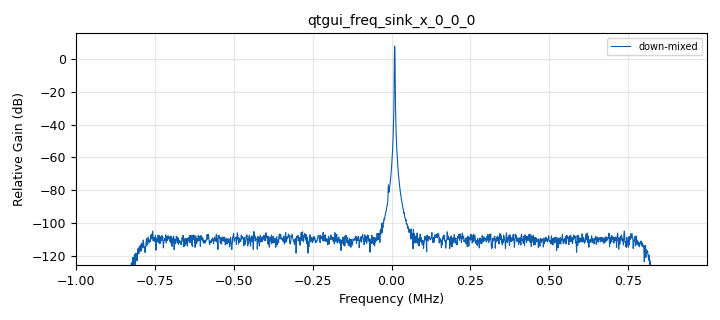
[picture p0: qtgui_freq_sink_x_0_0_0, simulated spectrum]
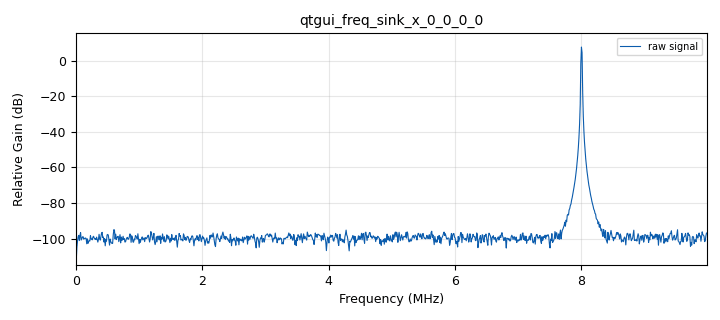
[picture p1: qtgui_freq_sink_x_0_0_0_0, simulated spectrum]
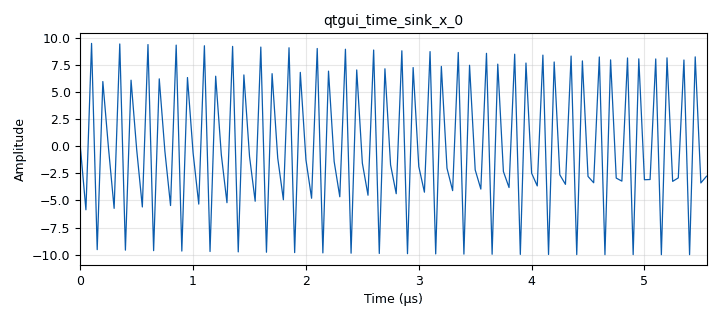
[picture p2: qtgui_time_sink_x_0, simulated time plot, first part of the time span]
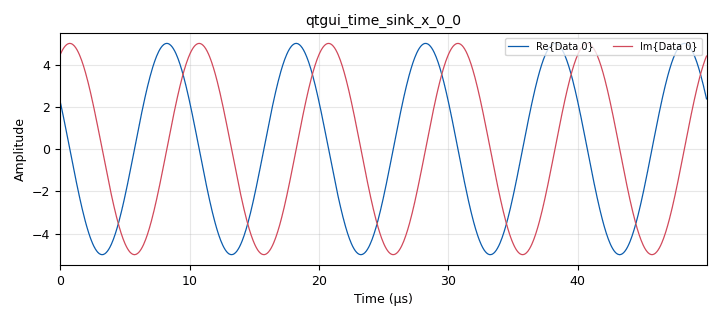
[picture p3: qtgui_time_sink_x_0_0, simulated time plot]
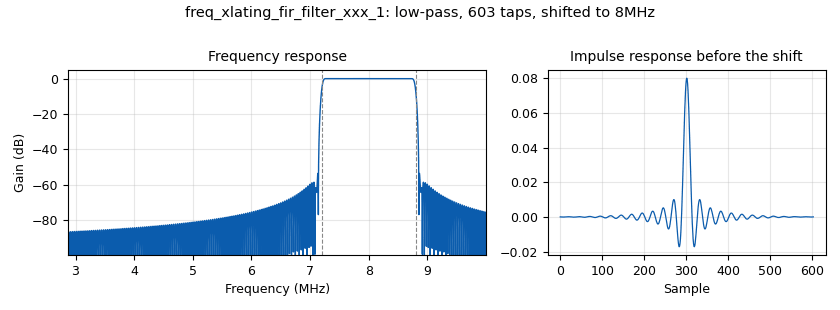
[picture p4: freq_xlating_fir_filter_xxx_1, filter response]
<?xml version='1.0' encoding='utf-8'?>
<?grc format='1' created='3.7.11'?>
<flow_graph>
<block>
<key>options</key>
<param><key>id</key><value>B3_ErrorPropagation_xlating</value></param>
<param><key>generate_options</key><value>qt_gui</value></param>
<param><key>realtime_scheduling</key><value>1</value></param>
<param><key>thread_safe_setters</key><value>1</value></param>
<param><key>title</key><value>B3 FEC-based data aggregation according to Section 3.3.3</value></param>
</block>
<block>
<key>variable_qtgui_range</key>
<param><key>id</key><value>bandWidth</value></param>
<param><key>value</key><value>8e5</value></param>
<param><key>gui_hint</key><value>1,1</value></param>
<param><key>orient</key><value>Qt.Horizontal</value></param>
<param><key>start</key><value>1e5</value></param>
<param><key>step</key><value>1e5</value></param>
<param><key>stop</key><value>2e6</value></param>
</block>
<block>
<key>variable_qtgui_range</key>
<param><key>id</key><value>centerFreq</value></param>
<param><key>value</key><value>8e6</value></param>
<param><key>gui_hint</key><value>0,1</value></param>
<param><key>orient</key><value>Qt.Horizontal</value></param>
<param><key>start</key><value>0</value></param>
<param><key>step</key><value>1e5</value></param>
<param><key>stop</key><value>10e6</value></param>
</block>
<block>
<key>variable</key>
<param><key>id</key><value>decimation</value></param>
<param><key>value</key><value>10</value></param>
</block>
<block>
<key>variable_qtgui_range</key>
<param><key>id</key><value>freq</value></param>
<param><key>value</key><value>8.01e6</value></param>
<param><key>gui_hint</key><value>0,0</value></param>
<param><key>orient</key><value>Qt.Horizontal</value></param>
<param><key>start</key><value>10e3</value></param>
<param><key>step</key><value>1e5</value></param>
<param><key>stop</key><value>10e6</value></param>
</block>
<block>
<key>variable</key>
<param><key>id</key><value>samp_rate</value></param>
<param><key>value</key><value>20000000</value></param>
</block>
<block>
<key>analog_noise_source_x</key>
<param><key>id</key><value>analog_noise_source_x_0_0</value></param>
<param><key>amp</key><value>0.001</value></param>
<param><key>noise_type</key><value>analog.GR_GAUSSIAN</value></param>
<param><key>type</key><value>float</value></param>
<param><key>seed</key><value>0</value></param>
</block>
<block>
<key>analog_sig_source_x</key>
<param><key>id</key><value>analog_sig_source_x_0_0_0</value></param>
<param><key>amp</key><value>10</value></param>
<param><key>freq</key><value>freq</value></param>
<param><key>offset</key><value>0</value></param>
<param><key>type</key><value>float</value></param>
<param><key>samp_rate</key><value>samp_rate</value></param>
<param><key>waveform</key><value>analog.GR_SIN_WAVE</value></param>
</block>
<block>
<key>blocks_add_xx</key>
<param><key>id</key><value>blocks_add_xx_0</value></param>
<param><key>type</key><value>float</value></param>
</block>
<block>
<key>blocks_complex_to_float</key>
<param><key>id</key><value>blocks_complex_to_float_0</value></param>
</block>
<block>
<key>blocks_null_sink</key>
<param><key>id</key><value>blocks_null_sink_0</value></param>
<param><key>bus_conns</key><value>[[0,],]</value></param>
<param><key>type</key><value>float</value></param>
</block>
<block>
<key>blocks_null_sink</key>
<param><key>id</key><value>blocks_null_sink_1</value></param>
<param><key>bus_conns</key><value>[[0,],]</value></param>
<param><key>type</key><value>float</value></param>
</block>
<block>
<key>blocks_throttle</key>
<param><key>id</key><value>blocks_throttle_0_0</value></param>
<param><key>samples_per_second</key><value>samp_rate</value></param>
<param><key>type</key><value>float</value></param>
</block>
<block>
<key>freq_xlating_fir_filter_xxx</key>
<param><key>id</key><value>freq_xlating_fir_filter_xxx_1</value></param>
<param><key>center_freq</key><value>centerFreq</value></param>
<param><key>decim</key><value>decimation</value></param>
<param><key>samp_rate</key><value>samp_rate</value></param>
<param><key>taps</key><value>firdes.low_pass(1,samp_rate, bandWidth, 0.1*bandWidth)</value></param>
<param><key>type</key><value>fcf</value></param>
</block>
<block>
<key>qtgui_freq_sink_x</key>
<param><key>id</key><value>qtgui_freq_sink_x_0_0_0</value></param>
<param><key>autoscale</key><value>True</value></param>
<param><key>average</key><value>0.2</value></param>
<param><key>bw</key><value>samp_rate/decimation</value></param>
<param><key>fc</key><value>0</value></param>
<param><key>fftsize</key><value>2048</value></param>
<param><key>gui_hint</key><value>3,1</value></param>
<param><key>grid</key><value>True</value></param>
<param><key>color1</key><value>"red"</value></param>
<param><key>label1</key><value>down-mixed</value></param>
<param><key>showports</key><value>True</value></param>
<param><key>freqhalf</key><value>False</value></param>
<param><key>type</key><value>complex</value></param>
<param><key>wintype</key><value>firdes.WIN_HANN</value></param>
</block>
<block>
<key>qtgui_freq_sink_x</key>
<param><key>id</key><value>qtgui_freq_sink_x_0_0_0_0</value></param>
<param><key>autoscale</key><value>True</value></param>
<param><key>average</key><value>0.2</value></param>
<param><key>bw</key><value>samp_rate</value></param>
<param><key>fc</key><value>0</value></param>
<param><key>fftsize</key><value>2048</value></param>
<param><key>gui_hint</key><value>3,0</value></param>
<param><key>grid</key><value>True</value></param>
<param><key>label1</key><value>raw signal</value></param>
<param><key>showports</key><value>True</value></param>
<param><key>freqhalf</key><value>False</value></param>
<param><key>type</key><value>float</value></param>
<param><key>wintype</key><value>firdes.WIN_HANN</value></param>
</block>
<block>
<key>qtgui_time_sink_x</key>
<param><key>id</key><value>qtgui_time_sink_x_0</value></param>
<param><key>autoscale</key><value>True</value></param>
<param><key>gui_hint</key><value>4,0</value></param>
<param><key>color1</key><value>"blue"</value></param>
<param><key>label1</key><value></value></param>
<param><key>size</key><value>1000</value></param>
<param><key>srate</key><value>samp_rate</value></param>
<param><key>type</key><value>float</value></param>
</block>
<block>
<key>qtgui_time_sink_x</key>
<param><key>id</key><value>qtgui_time_sink_x_0_0</value></param>
<param><key>autoscale</key><value>True</value></param>
<param><key>gui_hint</key><value>4,1</value></param>
<param><key>color1</key><value>"blue"</value></param>
<param><key>label1</key><value></value></param>
<param><key>color2</key><value>"red"</value></param>
<param><key>label2</key><value></value></param>
<param><key>size</key><value>1000</value></param>
<param><key>srate</key><value>samp_rate</value></param>
<param><key>type</key><value>complex</value></param>
</block>
<connection><source_block_id>analog_noise_source_x_0_0</source_block_id><sink_block_id>blocks_add_xx_0</sink_block_id><source_key>0</source_key><sink_key>0</sink_key></connection>
<connection><source_block_id>analog_sig_source_x_0_0_0</source_block_id><sink_block_id>blocks_add_xx_0</sink_block_id><source_key>0</source_key><sink_key>1</sink_key></connection>
<connection><source_block_id>blocks_add_xx_0</source_block_id><sink_block_id>blocks_throttle_0_0</sink_block_id><source_key>0</source_key><sink_key>0</sink_key></connection>
<connection><source_block_id>blocks_add_xx_0</source_block_id><sink_block_id>freq_xlating_fir_filter_xxx_1</sink_block_id><source_key>0</source_key><sink_key>0</sink_key></connection>
<connection><source_block_id>blocks_complex_to_float_0</source_block_id><sink_block_id>blocks_null_sink_1</sink_block_id><source_key>1</source_key><sink_key>0</sink_key></connection>
<connection><source_block_id>blocks_complex_to_float_0</source_block_id><sink_block_id>blocks_null_sink_0</sink_block_id><source_key>0</source_key><sink_key>0</sink_key></connection>
<connection><source_block_id>blocks_throttle_0_0</source_block_id><sink_block_id>qtgui_freq_sink_x_0_0_0_0</sink_block_id><source_key>0</source_key><sink_key>0</sink_key></connection>
<connection><source_block_id>blocks_throttle_0_0</source_block_id><sink_block_id>qtgui_time_sink_x_0</sink_block_id><source_key>0</source_key><sink_key>0</sink_key></connection>
<connection><source_block_id>freq_xlating_fir_filter_xxx_1</source_block_id><sink_block_id>blocks_complex_to_float_0</sink_block_id><source_key>0</source_key><sink_key>0</sink_key></connection>
<connection><source_block_id>freq_xlating_fir_filter_xxx_1</source_block_id><sink_block_id>qtgui_freq_sink_x_0_0_0</sink_block_id><source_key>0</source_key><sink_key>0</sink_key></connection>
<connection><source_block_id>freq_xlating_fir_filter_xxx_1</source_block_id><sink_block_id>qtgui_time_sink_x_0_0</sink_block_id><source_key>0</source_key><sink_key>0</sink_key></connection>
</flow_graph>
